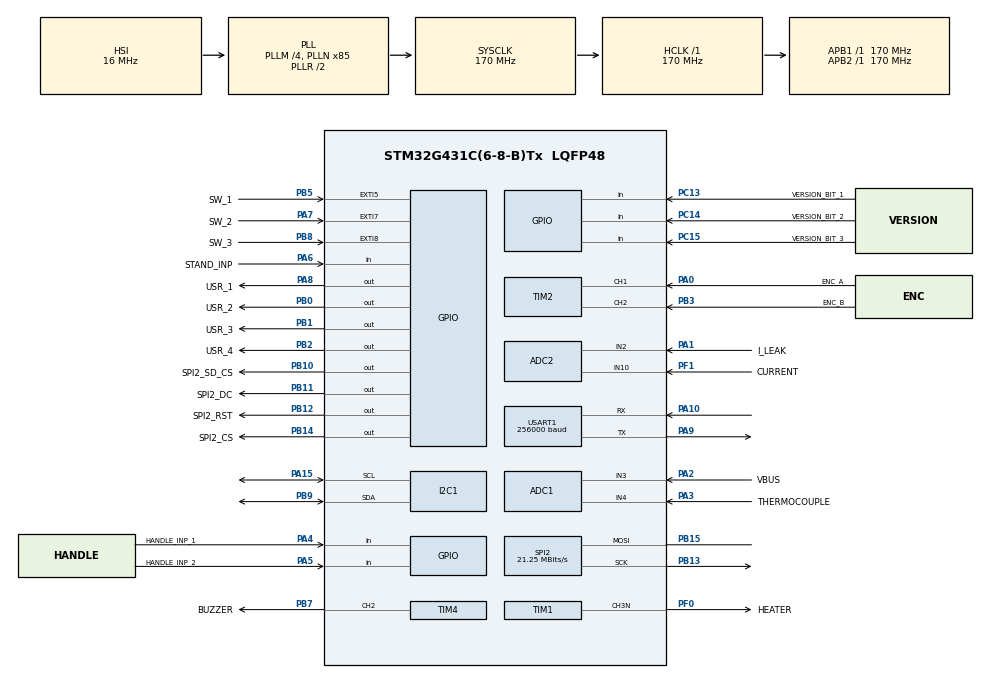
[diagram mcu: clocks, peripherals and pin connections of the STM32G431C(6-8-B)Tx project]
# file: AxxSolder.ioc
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ADC1.Channel-11\#ChannelRegularConversion=ADC_CHANNEL_3
ADC1.Channel-21\#ChannelRegularConversion=ADC_CHANNEL_4
ADC1.Channel-22\#ChannelRegularConversion=ADC_CHANNEL_TEMPSENSOR_ADC1
ADC1.ClockPrescaler=ADC_CLOCK_ASYNC_DIV4
ADC1.ContinuousConvMode=ENABLE
ADC1.DMAContinuousRequests=ENABLE
ADC1.DiscontinuousConvMode=DISABLE
ADC1.EnableAnalogWatchDog1=false
ADC1.EnableInjectedConversion=DISABLE
ADC1.EnableRegularConversion=ENABLE
ADC1.ExternalTrigConv=ADC_SOFTWARE_START
ADC1.ExternalTrigConvEdge=ADC_EXTERNALTRIGCONVEDGE_NONE
ADC1.NbrOfConversion=3
ADC1.NbrOfConversionFlag=1
ADC1.OffsetNumber-11\#ChannelRegularConversion=ADC_OFFSET_NONE
ADC1.OffsetNumber-21\#ChannelRegularConversion=ADC_OFFSET_NONE
ADC1.OffsetNumber-22\#ChannelRegularConversion=ADC_OFFSET_NONE
ADC1.Overrun=ADC_OVR_DATA_PRESERVED
ADC1.Rank-11\#ChannelRegularConversion=1
ADC1.Rank-21\#ChannelRegularConversion=2
ADC1.Rank-22\#ChannelRegularConversion=3
ADC1.SamplingTime-11\#ChannelRegularConversion=ADC_SAMPLETIME_247CYCLES_5
ADC1.SamplingTime-21\#ChannelRegularConversion=ADC_SAMPLETIME_247CYCLES_5
ADC1.SamplingTime-22\#ChannelRegularConversion=ADC_SAMPLETIME_247CYCLES_5
ADC1.master=1
ADC2.AWD1HighThreshold=2000
ADC2.AWD1ITMode=ENABLE
ADC2.Channel-4\#ChannelRegularConversion=ADC_CHANNEL_2
ADC2.Channel-5\#ChannelRegularConversion=ADC_CHANNEL_10
ADC2.ClockPrescaler=ADC_CLOCK_ASYNC_DIV4
ADC2.ContinuousConvMode=DISABLE
ADC2.DMAContinuousRequests=ENABLE
ADC2.EnableAnalogWatchDog1=true
ADC2.NbrOfConversion=2
ADC2.NbrOfConversionFlag=1
ADC2.OffsetNumber-4\#ChannelRegularConversion=ADC_OFFSET_NONE
ADC2.OffsetNumber-5\#ChannelRegularConversion=ADC_OFFSET_NONE
ADC2.Rank-4\#ChannelRegularConversion=1
ADC2.Rank-5\#ChannelRegularConversion=2
ADC2.SamplingTime-4\#ChannelRegularConversion=ADC_SAMPLETIME_2CYCLES_5
ADC2.SamplingTime-5\#ChannelRegularConversion=ADC_SAMPLETIME_2CYCLES_5
ADC2.WatchdogChannel=ADC_CHANNEL_2
Dma.ADC1.1.Direction=DMA_PERIPH_TO_MEMORY
Dma.ADC1.1.EventEnable=DISABLE
Dma.ADC1.1.Instance=DMA1_Channel3
Dma.ADC1.1.MemDataAlignment=DMA_MDATAALIGN_HALFWORD
Dma.ADC1.1.MemInc=DMA_MINC_ENABLE
Dma.ADC1.1.Mode=DMA_CIRCULAR
Dma.ADC1.1.PeriphDataAlignment=DMA_PDATAALIGN_HALFWORD
Dma.ADC1.1.PeriphInc=DMA_PINC_DISABLE
Dma.ADC1.1.Polarity=HAL_DMAMUX_REQ_GEN_RISING
Dma.ADC1.1.Priority=DMA_PRIORITY_LOW
Dma.ADC1.1.RequestNumber=1
Dma.ADC1.1.SignalID=NONE
Dma.ADC1.1.SyncEnable=DISABLE
Dma.ADC1.1.SyncPolarity=HAL_DMAMUX_SYNC_NO_EVENT
Dma.ADC1.1.SyncRequestNumber=1
Dma.ADC1.1.SyncSignalID=NONE
Dma.ADC2.3.Direction=DMA_PERIPH_TO_MEMORY
Dma.ADC2.3.EventEnable=DISABLE
Dma.ADC2.3.Instance=DMA1_Channel4
Dma.ADC2.3.MemDataAlignment=DMA_MDATAALIGN_HALFWORD
Dma.ADC2.3.MemInc=DMA_MINC_ENABLE
Dma.ADC2.3.Mode=DMA_NORMAL
Dma.ADC2.3.PeriphDataAlignment=DMA_PDATAALIGN_HALFWORD
Dma.ADC2.3.PeriphInc=DMA_PINC_DISABLE
Dma.ADC2.3.Polarity=HAL_DMAMUX_REQ_GEN_RISING
Dma.ADC2.3.Priority=DMA_PRIORITY_LOW
Dma.ADC2.3.RequestNumber=1
Dma.ADC2.3.SignalID=NONE
Dma.ADC2.3.SyncEnable=DISABLE
Dma.ADC2.3.SyncPolarity=HAL_DMAMUX_SYNC_NO_EVENT
Dma.ADC2.3.SyncRequestNumber=1
Dma.ADC2.3.SyncSignalID=NONE
Dma.Request0=SPI2_TX
Dma.Request1=ADC1
Dma.Request2=USART1_TX
Dma.Request3=ADC2
Dma.SPI2_TX.0.Direction=DMA_MEMORY_TO_PERIPH
Dma.SPI2_TX.0.EventEnable=DISABLE
Dma.SPI2_TX.0.Instance=DMA1_Channel1
Dma.SPI2_TX.0.MemDataAlignment=DMA_MDATAALIGN_BYTE
Dma.SPI2_TX.0.MemInc=DMA_MINC_ENABLE
Dma.SPI2_TX.0.Mode=DMA_NORMAL
Dma.SPI2_TX.0.PeriphDataAlignment=DMA_PDATAALIGN_BYTE
Dma.SPI2_TX.0.PeriphInc=DMA_PINC_DISABLE
Dma.SPI2_TX.0.Polarity=HAL_DMAMUX_REQ_GEN_RISING
Dma.SPI2_TX.0.Priority=DMA_PRIORITY_LOW
Dma.SPI2_TX.0.RequestNumber=1
Dma.SPI2_TX.0.SignalID=NONE
Dma.SPI2_TX.0.SyncEnable=DISABLE
Dma.SPI2_TX.0.SyncPolarity=HAL_DMAMUX_SYNC_NO_EVENT
Dma.SPI2_TX.0.SyncRequestNumber=1
Dma.SPI2_TX.0.SyncSignalID=NONE
Dma.USART1_TX.2.Direction=DMA_MEMORY_TO_PERIPH
Dma.USART1_TX.2.EventEnable=DISABLE
Dma.USART1_TX.2.Instance=DMA1_Channel2
Dma.USART1_TX.2.MemDataAlignment=DMA_MDATAALIGN_BYTE
Dma.USART1_TX.2.MemInc=DMA_MINC_ENABLE
Dma.USART1_TX.2.Mode=DMA_NORMAL
Dma.USART1_TX.2.PeriphDataAlignment=DMA_PDATAALIGN_BYTE
Dma.USART1_TX.2.PeriphInc=DMA_PINC_DISABLE
Dma.USART1_TX.2.Polarity=HAL_DMAMUX_REQ_GEN_RISING
Dma.USART1_TX.2.Priority=DMA_PRIORITY_LOW
Dma.USART1_TX.2.RequestNumber=1
Dma.USART1_TX.2.SignalID=NONE
Dma.USART1_TX.2.SyncEnable=DISABLE
Dma.USART1_TX.2.SyncPolarity=HAL_DMAMUX_SYNC_NO_EVENT
Dma.USART1_TX.2.SyncRequestNumber=1
Dma.USART1_TX.2.SyncSignalID=NONE
I2C1.Timing=0x40B285C2
Mcu.Family=STM32G4
Mcu.Name=STM32G431C(6-8-B)Tx
Mcu.Package=LQFP48
NVIC.ADC1_2_IRQn=true\:10\:0\:true\:false\:true\:true\:true\:true
NVIC.DMA1_Channel1_IRQn=true\:0\:0\:true\:false\:true\:false\:true\:true
NVIC.DMA1_Channel2_IRQn=true\:0\:0\:false\:false\:true\:false\:true\:true
NVIC.DMA1_Channel3_IRQn=true\:0\:0\:false\:false\:true\:false\:true\:true
NVIC.DMA1_Channel4_IRQn=true\:0\:0\:false\:false\:true\:false\:true\:true
NVIC.EXTI9_5_IRQn=true\:0\:0\:false\:false\:true\:true\:true\:true
NVIC.PriorityGroup=NVIC_PRIORITYGROUP_4
NVIC.TIM1_BRK_TIM15_IRQn=true\:0\:0\:false\:false\:true\:true\:true\:true
NVIC.TIM1_CC_IRQn=true\:0\:0\:false\:false\:true\:true\:true\:true
NVIC.TIM1_TRG_COM_TIM17_IRQn=true\:0\:0\:false\:false\:true\:true\:true\:true
NVIC.TIM1_UP_TIM16_IRQn=true\:0\:0\:false\:false\:true\:true\:true\:true
NVIC.TIM6_DAC_IRQn=true\:0\:0\:false\:false\:true\:true\:true\:true
NVIC.TIM7_IRQn=true\:0\:0\:false\:false\:true\:true\:true\:true
NVIC.USART1_IRQn=true\:0\:0\:false\:false\:true\:true\:true\:true
PA0.GPIO_Label=ENC_A
PA0.Signal=S_TIM2_CH1
PA1.GPIO_Label=I_LEAK
PA1.Mode=IN2-Single-Ended
PA1.Signal=ADC2_IN2
PA10.Mode=Asynchronous
PA10.Signal=USART1_RX
PA13.Mode=Serial_Wire
PA13.Signal=SYS_JTMS-SWDIO
PA14.Mode=Serial_Wire
PA14.Signal=SYS_JTCK-SWCLK
PA15.Mode=I2C
PA15.Signal=I2C1_SCL
PA2.GPIO_Label=VBUS
PA2.Mode=IN3-Single-Ended
PA2.Signal=ADC1_IN3
PA3.GPIO_Label=THERMOCOUPLE
PA3.Mode=IN4-Single-Ended
PA3.Signal=ADC1_IN4
PA4.GPIO_Label=HANDLE_INP_1
PA4.Signal=GPIO_Input
PA5.GPIO_Label=HANDLE_INP_2
PA5.Signal=GPIO_Input
PA6.GPIO_Label=STAND_INP
PA6.Signal=GPIO_Input
PA7.GPIO_Label=SW_2
PA7.Signal=GPXTI7
PA8.GPIO_Label=USR_1
PA8.Signal=GPIO_Output
PA9.Mode=Asynchronous
PA9.Signal=USART1_TX
PB0.GPIO_Label=USR_2
PB0.Signal=GPIO_Output
PB1.GPIO_Label=USR_3
PB1.Signal=GPIO_Output
PB10.GPIO_Label=SPI2_SD_CS
PB10.Signal=GPIO_Output
PB11.GPIO_Label=SPI2_DC
PB11.Signal=GPIO_Output
PB12.GPIO_Label=SPI2_RST
PB12.Signal=GPIO_Output
PB13.Mode=Simplex_Bidirectional_Master
PB13.Signal=SPI2_SCK
PB14.GPIO_Label=SPI2_CS
PB14.Signal=GPIO_Output
PB15.Mode=Simplex_Bidirectional_Master
PB15.Signal=SPI2_MOSI
PB2.GPIO_Label=USR_4
PB2.Signal=GPIO_Output
PB3.GPIO_Label=ENC_B
PB3.Signal=S_TIM2_CH2
PB5.GPIO_Label=SW_1
PB5.Signal=GPXTI5
PB7.GPIO_Label=BUZZER
PB7.Signal=S_TIM4_CH2
PB8-BOOT0.GPIO_Label=SW_3
PB8-BOOT0.Signal=GPXTI8
PB9.Mode=I2C
PB9.Signal=I2C1_SDA
PC13.GPIO_Label=VERSION_BIT_1
PC13.Signal=GPIO_Input
PC14-OSC32_IN.GPIO_Label=VERSION_BIT_2
PC14-OSC32_IN.Signal=GPIO_Input
PC15-OSC32_OUT.GPIO_Label=VERSION_BIT_3
PC15-OSC32_OUT.Signal=GPIO_Input
PF0-OSC_IN.GPIO_Label=HEATER
PF0-OSC_IN.Mode=PWM Generation3 CH3N
PF0-OSC_IN.Signal=TIM1_CH3N
PF1-OSC_OUT.GPIO_Label=CURRENT
PF1-OSC_OUT.Mode=IN10-Single-Ended
PF1-OSC_OUT.Signal=ADC2_IN10
ProjectManager.HeapSize=0x200
ProjectManager.StackSize=0x400
ProjectManager.TargetToolchain=STM32CubeIDE
RCC.ADC12Freq_Value=170000000
RCC.AHBFreq_Value=170000000
RCC.APB1Freq_Value=170000000
RCC.APB1TimFreq_Value=170000000
RCC.APB2Freq_Value=170000000
RCC.APB2TimFreq_Value=170000000
RCC.CK48CLockSelection=RCC_USBCLKSOURCE_HSI48
RCC.CortexFreq_Value=170000000
RCC.EXTERNAL_CLOCK_VALUE=12288000
RCC.HCLKFreq_Value=170000000
RCC.HSE_VALUE=8000000
RCC.HSI48_VALUE=48000000
RCC.HSI_VALUE=16000000
RCC.LSE_VALUE=32768
RCC.PLLM=RCC_PLLM_DIV4
RCC.PLLN=85
RCC.SYSCLKFreq_VALUE=170000000
RCC.SYSCLKSource=RCC_SYSCLKSOURCE_PLLCLK
RCC.USBFreq_Value=48000000
RCC.VCOOutputFreq_Value=340000000
SH.S_TIM2_CH1.0=TIM2_CH1,Encoder_Interface
SH.S_TIM2_CH2.0=TIM2_CH2,Encoder_Interface
SH.S_TIM4_CH2.0=TIM4_CH2,PWM Generation2 CH2
SPI2.BaudRatePrescaler=SPI_BAUDRATEPRESCALER_8
SPI2.CLKPolarity=SPI_POLARITY_LOW
SPI2.CalculateBaudRate=21.25 MBits/s
SPI2.DataSize=SPI_DATASIZE_8BIT
SPI2.Direction=SPI_DIRECTION_1LINE
SPI2.Mode=SPI_MODE_MASTER
SPI2.VirtualType=VM_MASTER
TIM1.AutoReloadPreload=TIM_AUTORELOAD_PRELOAD_ENABLE
TIM1.Channel-PWM\ Generation1\ No\ Output=TIM_CHANNEL_1
TIM1.Channel-PWM\ Generation3\ CH3N=TIM_CHANNEL_3
TIM1.PeriodNoDither=500
TIM1.Prescaler=17-1
TIM1.TIM_MasterOutputTrigger=TIM_TRGO_RESET
TIM16.AutoReloadPreload=TIM_AUTORELOAD_PRELOAD_ENABLE
TIM16.PeriodNoDither=500-1
TIM16.Prescaler=17000-1
TIM17.AutoReloadPreload=TIM_AUTORELOAD_PRELOAD_ENABLE
TIM17.PeriodNoDither=50-1
TIM17.Prescaler=17000
TIM2.EncoderMode=TIM_ENCODERMODE_TI12
TIM2.IC1Polarity=TIM_ICPOLARITY_FALLING
TIM4.AutoReloadPreload=TIM_AUTORELOAD_PRELOAD_ENABLE
TIM4.Channel-PWM\ Generation2\ CH2=TIM_CHANNEL_2
TIM4.PeriodNoDither=100
TIM4.Prescaler=1700-1
TIM4.PulseNoDither_2=0
TIM6.AutoReloadPreload=TIM_AUTORELOAD_PRELOAD_ENABLE
TIM6.PeriodNoDither=250
TIM6.Prescaler=17000-1
TIM7.AutoReloadPreload=TIM_AUTORELOAD_PRELOAD_ENABLE
TIM7.PeriodNoDither=10-1
TIM7.Prescaler=8500-1
TIM7.TIM_MasterOutputTrigger=TIM_TRGO_UPDATE
USART1.BaudRate=256000
USART1.VirtualMode-Asynchronous=VM_ASYNC
VP_ADC1_TempSens_Input.Mode=IN-TempSens
VP_CRC_VS_CRC.Mode=CRC_Activate
VP_SYS_VS_DBSignals.Mode=DisableDeadBatterySignals
VP_TIM16_VS_ClockSourceINT.Mode=Enable_Timer
VP_TIM17_VS_ClockSourceINT.Mode=Enable_Timer
VP_TIM17_VS_OPM.Mode=OPM_bit
VP_TIM1_VS_no_output1.Mode=PWM Generation1 No Output
VP_TIM6_VS_ClockSourceINT.Mode=Enable_Timer
VP_TIM7_VS_ClockSourceINT.Mode=Enable_Timer
VP_TIM7_VS_OPM.Mode=OPM_bit
VP_TIM8_VS_OPM.Mode=OPM_bit
board=custom

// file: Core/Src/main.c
/* USER CODE BEGIN Header */
/**
  ******************************************************************************
  * @file           : main.c
  * @author  		: Axel Johansson, Stockholm, Sweden
  * @brief          : Main program body of AxxSolder
  ******************************************************************************
  * @attention
  *
  * Copyright (c) 2024 STMicroelectronics.
  * All rights reserved.
  *
  * This software is licensed under terms that can be found in the LICENSE file
  * in the root directory of this software component.
  * If no LICENSE file comes with this software, it is provided AS-IS.
  *
  ******************************************************************************
  */
/* USER CODE END Header */
#include "main.h"

/* USER CODE BEGIN Includes */
#include "lcd.h"
#include "gui.h"
#include "string.h"
#include "pid.h"
#include "moving_average.h"
#include "hysteresis.h"
#include "type_packers.h"
#include "storage.h"
#include "tip_profile.h"
#include "menu_profiles.h"
#include "buzzer.h"
#include "debug.h"
#include "menu_settings.h"
#include "sensors.h"
#include "heater.h"
#include "handle.h"
#include "encoder.h"
#include "buttons.h"
#include "stand.h"
#include "settings.h"
#include "telemetry.h"
#include "power_source.h"
#include "display_app.h"
#include "controller.h"
#include <math.h>
#include <stdio.h>
#include <float.h>
#include "graph.h"
//#include "usbd_cdc_if.h"
/* USER CODE END Includes */

/* USER CODE BEGIN PTD */
/* PID_TUNING build switch lives in controller.h (its #ifdef consumer is in controller.c) */

uint32_t previous_measure_current_update = 0;
uint32_t interval_measure_current = 250;

uint32_t previous_sensor_update_high_update = 0;
uint32_t interval_sensor_update_high_update = 10;

uint32_t previous_sensor_update_low_update = 0;
uint32_t interval_sensor_update_low_update = 100;

/* Flag to indicate that startup sequence is done */
uint8_t startup_done = 0;

/* Struct to hold sensor values */
struct sensor_values_struct {
	float set_temperature;
	float thermocouple_temperature;
	float thermocouple_temperature_previous;
	float thermocouple_temperature_filtered;
	float requested_power;
	float requested_power_filtered;
	float bus_voltage;
	float heater_current;
	uint16_t leak_current;
	float mcu_temperature;
	float in_stand;
	float handle1_sense;
	float handle2_sense;
	mainstates current_state;
	mainstates previous_state;
	float max_power_watt;
	float USB_PD_power_limit;
};

/* Struct to hold sensor values */
volatile sensor_values_struct sensor_values = {
    .set_temperature = 0.0f,
    .thermocouple_temperature = 0.0f,
    .thermocouple_temperature_previous = 0.0f,
    .thermocouple_temperature_filtered = 0.0f,
    .requested_power = 0.0f,
    .requested_power_filtered = 0.0f,
    .bus_voltage = 0.0f,
    .heater_current = 0.0f,
    .leak_current = 0,
    .mcu_temperature = 0.0f,
    .in_stand = 0.0f,
    .handle1_sense = 0.0f,
    .handle2_sense = 0.0f,
    .current_state = SLEEP,
    .previous_state = SLEEP,
    .max_power_watt = 0.0f,
    .USB_PD_power_limit = FLT_MAX
};
/* USER CODE END PTD */

ADC_HandleTypeDef hadc1;
ADC_HandleTypeDef hadc2;
DMA_HandleTypeDef hdma_adc1;
DMA_HandleTypeDef hdma_adc2;

CRC_HandleTypeDef hcrc;

I2C_HandleTypeDef hi2c1;

SPI_HandleTypeDef hspi2;
DMA_HandleTypeDef hdma_spi2_tx;

TIM_HandleTypeDef htim1;
TIM_HandleTypeDef htim2;
TIM_HandleTypeDef htim4;
TIM_HandleTypeDef htim6;
TIM_HandleTypeDef htim7;
TIM_HandleTypeDef htim8;
TIM_HandleTypeDef htim16;
TIM_HandleTypeDef htim17;

UART_HandleTypeDef huart1;
DMA_HandleTypeDef hdma_usart1_tx;

void SystemClock_Config(void);
static void MX_GPIO_Init(void);
static void MX_DMA_Init(void);
static void MX_ADC1_Init(void);
static void MX_ADC2_Init(void);
static void MX_CRC_Init(void);
static void MX_TIM1_Init(void);
static void MX_TIM2_Init(void);
static void MX_TIM4_Init(void);
static void MX_SPI2_Init(void);
static void MX_I2C1_Init(void);
static void MX_USART1_UART_Init(void);
static void MX_TIM7_Init(void);
static void MX_TIM8_Init(void);
static void MX_TIM6_Init(void);
static void MX_TIM16_Init(void);
static void MX_TIM17_Init(void);

/* USER CODE BEGIN 0 */

void HAL_GPIO_EXTI_Callback(uint16_t GPIO_Pin) {
    buttons_isr_exti(GPIO_Pin);
}

void HAL_TIM_IC_CaptureCallback(TIM_HandleTypeDef *htim) {
    if ((htim->Channel == HAL_TIM_ACTIVE_CHANNEL_1) || (htim->Channel == HAL_TIM_ACTIVE_CHANNEL_2)) {
        encoder_isr_capture();
    }
}

/* Timer Callbacks */
void HAL_TIM_PWM_PulseFinishedCallback(TIM_HandleTypeDef *htim){
    if (htim->Instance == TIM1 && htim->Channel == HAL_TIM_ACTIVE_CHANNEL_1) {
        heater_isr_pwm_ch1_pulse_finished();
    }
}

void HAL_TIM_PeriodElapsedCallback(TIM_HandleTypeDef *htim) {
    /* Dispatch by timer instance. */
    if      (htim == &htim6)  sensors_isr_thermocouple_window_start();
    else if (htim == &htim7)  sensors_start_adc_sample();
    else if (htim == &htim17) buzzer_isr_beep_done();
    else if (htim == &htim16) buttons_isr_debounce_tick();
}
/* ADC conversion completed Callbacks */
void HAL_ADC_ConvCpltCallback(ADC_HandleTypeDef *hadc) {
    if      (hadc->Instance == ADC1) sensors_isr_thermocouple_complete();
    else if (hadc->Instance == ADC2) heater_isr_current_complete();
}

/* ADC analog watchdog: ground-fault detection on the iron tip */
void HAL_ADC_LevelOutOfWindowCallback(ADC_HandleTypeDef *hadc __unused) {
    LCD_draw_earth_fault_popup();
}

// For DEBUG
//HAL_GPIO_WritePin(USR_1_GPIO_Port, USR_1_Pin, GPIO_PIN_SET);
//HAL_GPIO_WritePin(GPIOB, USR_2_Pin, GPIO_PIN_RESET);
//HAL_GPIO_WritePin(GPIOB, USR_3_Pin, GPIO_PIN_RESET);
//HAL_GPIO_WritePin(GPIOB, USR_4_Pin, GPIO_PIN_RESET);

/* USER CODE END 0 */

int main(void)
{

  /* MCU Configuration--------------------------------------------------------*/

  /* Reset of all peripherals, Initializes the Flash interface and the Systick. */
  HAL_Init();

  /* Configure the system clock */
  SystemClock_Config();

  /* Initialize all configured peripherals */
  MX_GPIO_Init();
  MX_DMA_Init();
  MX_ADC1_Init();
  MX_ADC2_Init();
  MX_CRC_Init();
  MX_TIM1_Init();
  MX_TIM2_Init();
  MX_TIM4_Init();
  MX_SPI2_Init();
  MX_I2C1_Init();
  MX_USART1_UART_Init();
  MX_TIM7_Init();
  MX_TIM8_Init();
  MX_TIM6_Init();
  MX_TIM16_Init();
  MX_TIM17_Init();
  /* USER CODE BEGIN 2 */

	heater_set_duty(0);		//Set heater duty to zero to ensure zero startup current
	HAL_TIMEx_PWMN_Start_IT(&htim1, TIM_CHANNEL_3);

	HAL_TIM_Encoder_Start_IT(&htim2, TIM_CHANNEL_ALL);
	HAL_TIM_PWM_Start_IT(&htim1, TIM_CHANNEL_1);
	__HAL_TIM_SET_COMPARE(&htim4, TIM_CHANNEL_2, 50); //Set BUZZER duty to 50%
	HAL_TIM_Base_Start_IT(&htim6);

	__HAL_TIM_ENABLE_IT(&htim7, TIM_IT_UPDATE);

	HAL_ADCEx_Calibration_Start(&hadc2, ADC_SINGLE_ENDED);

	HAL_ADCEx_Calibration_Start(&hadc1, ADC_SINGLE_ENDED);
	HAL_ADC_Start_DMA(&hadc1, sensors_adc1_buf(), sensors_adc1_buf_len());	//Start ADC DMA mode

  /* USER CODE END 2 */

  /* Infinite loop */
  /* USER CODE BEGIN WHILE */
	HAL_Delay(200);

	/* Check if user data in flash is valid, if not - write default parameters */
	settings_init();

	/* Load tip profiles from storage */
	tip_profiles_init(STORAGE_PROFILES_DRIVER);

	/* Initiate display */
	LCD_init();

	LCD_SetRotation(flash_values.screen_rotation);

	/* Apply encoder direction setting */
	if(flash_values.change_enc_dir == 1){
		MX_TIM2_Init();
	}

	/* Set startup state */

	/* Set initial encoder timer value (used directly as temperature in
	   3-button mode) and seed the set temperature (normal rotary mode reads
	   the encoder as a relative delta, so it needs an explicit start value). */
	TIM2->CNT = flash_values.startup_temperature;
	sensor_values.set_temperature = flash_values.startup_temperature;

	/* initialize moving average functions */
	Moving_Average_Init(&thermocouple_temperature_filter_struct,(uint32_t)2);
	Moving_Average_Init(&thermocouple_temperature_filtered_filter_struct,(uint32_t)flash_values.displayed_temp_filter*10);
	Moving_Average_Init(&requested_power_filtered_filter_struct,(uint32_t)20);
	Moving_Average_Init(&mcu_temperature_filter_struct,(uint32_t)100);
	Moving_Average_Init(&input_voltage_filterStruct,(uint32_t)25);
	Moving_Average_Init(&current_filterStruct,(uint32_t)2);
	Moving_Average_Init(&stand_sense_filterStruct,(uint32_t)20);
	Moving_Average_Init(&handle1_sense_filterStruct,(uint32_t)20);
	Moving_Average_Init(&handle2_sense_filterStruct,(uint32_t)20);

	/* initialize hysteresis functions */
	Hysteresis_Init(&thermocouple_temperature_filtered_hysteresis, 0.5f);

	/* Init and fill filter structures with initial values */
	for (int i = 0; i<200;i++){
		sensors_get_bus_voltage(); // Function to retrieve the filtered bus voltage
		sensors_get_heater_current(); // Function to retrieve the filtered heater current
		sensors_get_mcu_temp(); // Function to retrieve the MCU temperature
		sensors_get_thermocouple_temperature(); // Get thermocouple temperature
		handle_detect(); // Get the handle type attached
		handle_apply_settings(); // Function to set heating values depending on the detected handle
		stand_update(); // Get handle stand status to activate SLEEP
		buttons_handle(); // Function to get button status
		handle_check_cartridge(); // Function to monitor cartridge presence
	}

	/* Initiate PID controller */
	controller_init();

	/* check STUSB4500 */
	power_source_init();

	/* Draw the main screen decoration */
	if (flash_values.display_graph == 0){
		LCD_draw_main_screen();
	}
	else{
		//UG_FillScreen(background);
		draw_graph_init();
	}
	HAL_Delay(250);

	/* Set beep tone */
	switch((int)flash_values.beep_tone){
		case 0: {
			set_tone(1500, 10);
			break;
		}
		case 1: {
			set_tone(1500, 50);
			break;
		}
		case 2: {
			set_tone(800, 10);
			break;
		}
		case 3: {
			set_tone(800, 50);
			break;
		}
	}

    /* Start-up beep */
	beep_double(flash_values.startup_beep);

	//Flag to indicate that the startup sequence is done
	startup_done = 1;
	sensor_values.thermocouple_temperature_previous = sensor_values.thermocouple_temperature;

	/* "Heat at startup": preheat to the standby temperature on power-on.
	   Deferred until a tip is detected (see the one-shot in the main loop) -
	   doing it here would be immediately overridden by handle_check_cartridge,
	   which forces EMERGENCY_SLEEP until the first current measurement proves a
	   tip is present (heater_current starts at 0). */
	uint8_t heat_at_startup_pending = (flash_values.heat_at_startup == 1);

	/* Initiate the PID controller to zero*/
	//PID_Init_Zero();

	while (1){

		if(HAL_GetTick() - previous_sensor_update_high_update >= interval_sensor_update_high_update){
			stand_update();
			handle_detect();
			handle_apply_settings();
			encoder_read_set_temperature();
			buttons_handle();
			handle_emergency_shutdown();
			handle_check_cartridge();
			/* One-shot preheat: once a tip is confirmed present, enter STANDBY
			   if "heat at startup" is enabled. Deferred to here so the cartridge
			   check above (which forces EMERGENCY_SLEEP while heater_current < 1)
			   doesn't immediately clobber it. */
			if(heat_at_startup_pending && (cartridge_state == ATTACHED)){
				change_state(STANDBY);
				previous_millis_standby = HAL_GetTick();
				heat_at_startup_pending = 0;
			}
			previous_sensor_update_high_update = HAL_GetTick();
		}

		if(HAL_GetTick() - previous_sensor_update_low_update >= interval_sensor_update_low_update){
			sensors_get_bus_voltage();
			sensors_get_heater_current();
			sensors_get_mcu_temp();
			beep_at_set_temp();
			previous_sensor_update_low_update = HAL_GetTick();
		}

		/* Compute PID + switch + PID Tuning manual control */
		controller_tick();

		/* Send debug information */
		telemetry_tick();

		/* Detect if a tip is present by sending a short voltage pulse and sense current */
		if (flash_values.current_measurement == 1){

			if (HAL_GetTick() - previous_measure_current_update >= interval_measure_current) {
				// Perform current measurement only if thermocouple measurement is not in progress.
				if (sensors_thermocouple_sampling_idle()) {
					heater_start_current_measurement();
					previous_measure_current_update = HAL_GetTick();
				}
			}
		}
		else{
			sensor_values.heater_current = 1; // If the current is not measured, apply a dummy value to heater_current
		}

		/* Update display (popup dwell + periodic render inside display_app_tick) */
		display_app_tick();
    /* USER CODE END WHILE */

  }
}

void SystemClock_Config(void)
{
  RCC_OscInitTypeDef RCC_OscInitStruct = {0};
  RCC_ClkInitTypeDef RCC_ClkInitStruct = {0};

  /** Configure the main internal regulator output voltage
  */
  HAL_PWREx_ControlVoltageScaling(PWR_REGULATOR_VOLTAGE_SCALE1_BOOST);

  /** Initializes the RCC Oscillators according to the specified parameters
  * in the RCC_OscInitTypeDef structure.
  */
  RCC_OscInitStruct.OscillatorType = RCC_OSCILLATORTYPE_HSI;
  RCC_OscInitStruct.HSIState = RCC_HSI_ON;
  RCC_OscInitStruct.HSICalibrationValue = RCC_HSICALIBRATION_DEFAULT;
  RCC_OscInitStruct.PLL.PLLState = RCC_PLL_ON;
  RCC_OscInitStruct.PLL.PLLSource = RCC_PLLSOURCE_HSI;
  RCC_OscInitStruct.PLL.PLLM = RCC_PLLM_DIV4;
  RCC_OscInitStruct.PLL.PLLN = 85;
  RCC_OscInitStruct.PLL.PLLP = RCC_PLLP_DIV2;
  RCC_OscInitStruct.PLL.PLLQ = RCC_PLLQ_DIV2;
  RCC_OscInitStruct.PLL.PLLR = RCC_PLLR_DIV2;
  if (HAL_RCC_OscConfig(&RCC_OscInitStruct) != HAL_OK)
  {
    Error_Handler();
  }

  /** Initializes the CPU, AHB and APB buses clocks
  */
  RCC_ClkInitStruct.ClockType = RCC_CLOCKTYPE_HCLK|RCC_CLOCKTYPE_SYSCLK
                              |RCC_CLOCKTYPE_PCLK1|RCC_CLOCKTYPE_PCLK2;
  RCC_ClkInitStruct.SYSCLKSource = RCC_SYSCLKSOURCE_PLLCLK;
  RCC_ClkInitStruct.AHBCLKDivider = RCC_SYSCLK_DIV1;
  RCC_ClkInitStruct.APB1CLKDivider = RCC_HCLK_DIV1;
  RCC_ClkInitStruct.APB2CLKDivider = RCC_HCLK_DIV1;

  if (HAL_RCC_ClockConfig(&RCC_ClkInitStruct, FLASH_LATENCY_4) != HAL_OK)
  {
    Error_Handler();
  }
}

static void MX_ADC1_Init(void)
{

  ADC_MultiModeTypeDef multimode = {0};
  ADC_ChannelConfTypeDef sConfig = {0};

  /** Common config
  */
  hadc1.Instance = ADC1;
  hadc1.Init.ClockPrescaler = ADC_CLOCK_ASYNC_DIV4;
  hadc1.Init.Resolution = ADC_RESOLUTION_12B;
  hadc1.Init.DataAlign = ADC_DATAALIGN_RIGHT;
  hadc1.Init.GainCompensation = 0;
  hadc1.Init.ScanConvMode = ADC_SCAN_ENABLE;
  hadc1.Init.EOCSelection = ADC_EOC_SINGLE_CONV;
  hadc1.Init.LowPowerAutoWait = DISABLE;
  hadc1.Init.ContinuousConvMode = ENABLE;
  hadc1.Init.NbrOfConversion = 3;
  hadc1.Init.DiscontinuousConvMode = DISABLE;
  hadc1.Init.ExternalTrigConv = ADC_SOFTWARE_START;
  hadc1.Init.ExternalTrigConvEdge = ADC_EXTERNALTRIGCONVEDGE_NONE;
  hadc1.Init.DMAContinuousRequests = ENABLE;
  hadc1.Init.Overrun = ADC_OVR_DATA_PRESERVED;
  hadc1.Init.OversamplingMode = DISABLE;
  if (HAL_ADC_Init(&hadc1) != HAL_OK)
  {
    Error_Handler();
  }

  /** Configure the ADC multi-mode
  */
  multimode.Mode = ADC_MODE_INDEPENDENT;
  if (HAL_ADCEx_MultiModeConfigChannel(&hadc1, &multimode) != HAL_OK)
  {
    Error_Handler();
  }

  /** Configure Regular Channel
  */
  sConfig.Channel = ADC_CHANNEL_3;
  sConfig.Rank = ADC_REGULAR_RANK_1;
  sConfig.SamplingTime = ADC_SAMPLETIME_247CYCLES_5;
  sConfig.SingleDiff = ADC_SINGLE_ENDED;
  sConfig.OffsetNumber = ADC_OFFSET_NONE;
  sConfig.Offset = 0;
  if (HAL_ADC_ConfigChannel(&hadc1, &sConfig) != HAL_OK)
  {
    Error_Handler();
  }

  /** Configure Regular Channel
  */
  sConfig.Channel = ADC_CHANNEL_4;
  sConfig.Rank = ADC_REGULAR_RANK_2;
  if (HAL_ADC_ConfigChannel(&hadc1, &sConfig) != HAL_OK)
  {
    Error_Handler();
  }

  /** Configure Regular Channel
  */
  sConfig.Channel = ADC_CHANNEL_TEMPSENSOR_ADC1;
  sConfig.Rank = ADC_REGULAR_RANK_3;
  if (HAL_ADC_ConfigChannel(&hadc1, &sConfig) != HAL_OK)
  {
    Error_Handler();
  }

}

static void MX_ADC2_Init(void)
{

  ADC_AnalogWDGConfTypeDef AnalogWDGConfig = {0};
  ADC_ChannelConfTypeDef sConfig = {0};

  /** Common config
  */
  hadc2.Instance = ADC2;
  hadc2.Init.ClockPrescaler = ADC_CLOCK_ASYNC_DIV4;
  hadc2.Init.Resolution = ADC_RESOLUTION_12B;
  hadc2.Init.DataAlign = ADC_DATAALIGN_RIGHT;
  hadc2.Init.GainCompensation = 0;
  hadc2.Init.ScanConvMode = ADC_SCAN_ENABLE;
  hadc2.Init.EOCSelection = ADC_EOC_SINGLE_CONV;
  hadc2.Init.LowPowerAutoWait = DISABLE;
  hadc2.Init.ContinuousConvMode = DISABLE;
  hadc2.Init.NbrOfConversion = 2;
  hadc2.Init.DiscontinuousConvMode = DISABLE;
  hadc2.Init.ExternalTrigConv = ADC_SOFTWARE_START;
  hadc2.Init.ExternalTrigConvEdge = ADC_EXTERNALTRIGCONVEDGE_NONE;
  hadc2.Init.DMAContinuousRequests = ENABLE;
  hadc2.Init.Overrun = ADC_OVR_DATA_PRESERVED;
  hadc2.Init.OversamplingMode = DISABLE;
  if (HAL_ADC_Init(&hadc2) != HAL_OK)
  {
    Error_Handler();
  }

  /** Configure Analog WatchDog 1
  */
  AnalogWDGConfig.WatchdogNumber = ADC_ANALOGWATCHDOG_1;
  AnalogWDGConfig.WatchdogMode = ADC_ANALOGWATCHDOG_SINGLE_REG;
  AnalogWDGConfig.Channel = ADC_CHANNEL_2;
  AnalogWDGConfig.ITMode = ENABLE;
  AnalogWDGConfig.HighThreshold = 2000;
  AnalogWDGConfig.LowThreshold = 0;
  AnalogWDGConfig.FilteringConfig = ADC_AWD_FILTERING_NONE;
  if (HAL_ADC_AnalogWDGConfig(&hadc2, &AnalogWDGConfig) != HAL_OK)
  {
    Error_Handler();
  }

  /** Configure Regular Channel
  */
  sConfig.Channel = ADC_CHANNEL_2;
  sConfig.Rank = ADC_REGULAR_RANK_1;
  sConfig.SamplingTime = ADC_SAMPLETIME_2CYCLES_5;
  sConfig.SingleDiff = ADC_SINGLE_ENDED;
  sConfig.OffsetNumber = ADC_OFFSET_NONE;
  sConfig.Offset = 0;
  if (HAL_ADC_ConfigChannel(&hadc2, &sConfig) != HAL_OK)
  {
    Error_Handler();
  }

  /** Configure Regular Channel
  */
  sConfig.Channel = ADC_CHANNEL_10;
  sConfig.Rank = ADC_REGULAR_RANK_2;
  if (HAL_ADC_ConfigChannel(&hadc2, &sConfig) != HAL_OK)
  {
    Error_Handler();
  }

}

static void MX_CRC_Init(void)
{

  hcrc.Instance = CRC;
  hcrc.Init.DefaultPolynomialUse = DEFAULT_POLYNOMIAL_ENABLE;
  hcrc.Init.DefaultInitValueUse = DEFAULT_INIT_VALUE_ENABLE;
  hcrc.Init.InputDataInversionMode = CRC_INPUTDATA_INVERSION_NONE;
  hcrc.Init.OutputDataInversionMode = CRC_OUTPUTDATA_INVERSION_DISABLE;
  hcrc.InputDataFormat = CRC_INPUTDATA_FORMAT_BYTES;
  if (HAL_CRC_Init(&hcrc) != HAL_OK)
  {
    Error_Handler();
  }

}

static void MX_I2C1_Init(void)
{

  hi2c1.Instance = I2C1;
  hi2c1.Init.Timing = 0x40B285C2;
  hi2c1.Init.OwnAddress1 = 0;
  hi2c1.Init.AddressingMode = I2C_ADDRESSINGMODE_7BIT;
  hi2c1.Init.DualAddressMode = I2C_DUALADDRESS_DISABLE;
  hi2c1.Init.OwnAddress2 = 0;
  hi2c1.Init.OwnAddress2Masks = I2C_OA2_NOMASK;
  hi2c1.Init.GeneralCallMode = I2C_GENERALCALL_DISABLE;
  hi2c1.Init.NoStretchMode = I2C_NOSTRETCH_DISABLE;
  if (HAL_I2C_Init(&hi2c1) != HAL_OK)
  {
    Error_Handler();
  }

  /** Configure Analogue filter
  */
  if (HAL_I2CEx_ConfigAnalogFilter(&hi2c1, I2C_ANALOGFILTER_ENABLE) != HAL_OK)
  {
    Error_Handler();
  }

  /** Configure Digital filter
  */
  if (HAL_I2CEx_ConfigDigitalFilter(&hi2c1, 0) != HAL_OK)
  {
    Error_Handler();
  }

}

static void MX_SPI2_Init(void)
{

  /* SPI2 parameter configuration*/
  hspi2.Instance = SPI2;
  hspi2.Init.Mode = SPI_MODE_MASTER;
  hspi2.Init.Direction = SPI_DIRECTION_1LINE;
  hspi2.Init.DataSize = SPI_DATASIZE_8BIT;
  hspi2.Init.CLKPolarity = SPI_POLARITY_LOW;
  hspi2.Init.CLKPhase = SPI_PHASE_1EDGE;
  hspi2.Init.NSS = SPI_NSS_SOFT;
  hspi2.Init.BaudRatePrescaler = SPI_BAUDRATEPRESCALER_8;
  hspi2.Init.FirstBit = SPI_FIRSTBIT_MSB;
  hspi2.Init.TIMode = SPI_TIMODE_DISABLE;
  hspi2.Init.CRCCalculation = SPI_CRCCALCULATION_DISABLE;
  hspi2.Init.CRCPolynomial = 7;
  hspi2.Init.CRCLength = SPI_CRC_LENGTH_DATASIZE;
  hspi2.Init.NSSPMode = SPI_NSS_PULSE_ENABLE;
  if (HAL_SPI_Init(&hspi2) != HAL_OK)
  {
    Error_Handler();
  }

}

static void MX_TIM1_Init(void)
{

  TIM_MasterConfigTypeDef sMasterConfig = {0};
  TIM_OC_InitTypeDef sConfigOC = {0};
  TIM_BreakDeadTimeConfigTypeDef sBreakDeadTimeConfig = {0};

  htim1.Instance = TIM1;
  htim1.Init.Prescaler = 17-1;
  htim1.Init.CounterMode = TIM_COUNTERMODE_UP;
  htim1.Init.Period = 500;
  htim1.Init.ClockDivision = TIM_CLOCKDIVISION_DIV1;
  htim1.Init.RepetitionCounter = 0;
  htim1.Init.AutoReloadPreload = TIM_AUTORELOAD_PRELOAD_ENABLE;
  if (HAL_TIM_PWM_Init(&htim1) != HAL_OK)
  {
    Error_Handler();
  }
  sMasterConfig.MasterOutputTrigger = TIM_TRGO_RESET;
  sMasterConfig.MasterOutputTrigger2 = TIM_TRGO2_RESET;
  sMasterConfig.MasterSlaveMode = TIM_MASTERSLAVEMODE_DISABLE;
  if (HAL_TIMEx_MasterConfigSynchronization(&htim1, &sMasterConfig) != HAL_OK)
  {
    Error_Handler();
  }
  sConfigOC.OCMode = TIM_OCMODE_PWM1;
  sConfigOC.Pulse = 0;
  sConfigOC.OCPolarity = TIM_OCPOLARITY_HIGH;
  sConfigOC.OCNPolarity = TIM_OCNPOLARITY_HIGH;
  sConfigOC.OCFastMode = TIM_OCFAST_DISABLE;
  sConfigOC.OCIdleState = TIM_OCIDLESTATE_RESET;
  sConfigOC.OCNIdleState = TIM_OCNIDLESTATE_RESET;
  if (HAL_TIM_PWM_ConfigChannel(&htim1, &sConfigOC, TIM_CHANNEL_1) != HAL_OK)
  {
    Error_Handler();
  }
  if (HAL_TIM_PWM_ConfigChannel(&htim1, &sConfigOC, TIM_CHANNEL_3) != HAL_OK)
  {
    Error_Handler();
  }
  sBreakDeadTimeConfig.OffStateRunMode = TIM_OSSR_DISABLE;
  sBreakDeadTimeConfig.OffStateIDLEMode = TIM_OSSI_DISABLE;
  sBreakDeadTimeConfig.LockLevel = TIM_LOCKLEVEL_OFF;
  sBreakDeadTimeConfig.DeadTime = 0;
  sBreakDeadTimeConfig.BreakState = TIM_BREAK_DISABLE;
  sBreakDeadTimeConfig.BreakPolarity = TIM_BREAKPOLARITY_HIGH;
  sBreakDeadTimeConfig.BreakFilter = 0;
  sBreakDeadTimeConfig.BreakAFMode = TIM_BREAK_AFMODE_INPUT;
  sBreakDeadTimeConfig.Break2State = TIM_BREAK2_DISABLE;
  sBreakDeadTimeConfig.Break2Polarity = TIM_BREAK2POLARITY_HIGH;
  sBreakDeadTimeConfig.Break2Filter = 0;
  sBreakDeadTimeConfig.Break2AFMode = TIM_BREAK_AFMODE_INPUT;
  sBreakDeadTimeConfig.AutomaticOutput = TIM_AUTOMATICOUTPUT_DISABLE;
  if (HAL_TIMEx_ConfigBreakDeadTime(&htim1, &sBreakDeadTimeConfig) != HAL_OK)
  {
    Error_Handler();
  }
  HAL_TIM_MspPostInit(&htim1);

}

static void MX_TIM2_Init(void)
{

  TIM_Encoder_InitTypeDef sConfig = {0};
  TIM_MasterConfigTypeDef sMasterConfig = {0};

  htim2.Instance = TIM2;
  htim2.Init.Prescaler = 0;
  htim2.Init.CounterMode = TIM_COUNTERMODE_UP;
  htim2.Init.Period = 4294967295;
  htim2.Init.ClockDivision = TIM_CLOCKDIVISION_DIV1;
  htim2.Init.AutoReloadPreload = TIM_AUTORELOAD_PRELOAD_DISABLE;
  sConfig.EncoderMode = TIM_ENCODERMODE_TI12;
  sConfig.IC1Polarity = TIM_ICPOLARITY_FALLING;
  sConfig.IC1Selection = TIM_ICSELECTION_DIRECTTI;
  sConfig.IC1Prescaler = TIM_ICPSC_DIV1;
  sConfig.IC1Filter = 0;
  sConfig.IC2Polarity = TIM_ICPOLARITY_RISING;
  sConfig.IC2Selection = TIM_ICSELECTION_DIRECTTI;
  sConfig.IC2Prescaler = TIM_ICPSC_DIV1;
  sConfig.IC2Filter = 0;
  if (HAL_TIM_Encoder_Init(&htim2, &sConfig) != HAL_OK)
  {
    Error_Handler();
  }
  sMasterConfig.MasterOutputTrigger = TIM_TRGO_RESET;
  sMasterConfig.MasterSlaveMode = TIM_MASTERSLAVEMODE_DISABLE;
  if (HAL_TIMEx_MasterConfigSynchronization(&htim2, &sMasterConfig) != HAL_OK)
  {
    Error_Handler();
  }
  /* USER CODE BEGIN TIM2_Init 2 */
  if(flash_values.change_enc_dir == 1){
	  sConfig.IC1Polarity = TIM_ICPOLARITY_RISING;
	  HAL_TIM_Encoder_Init(&htim2, &sConfig);
  }
  /* USER CODE END TIM2_Init 2 */

}

static void MX_TIM4_Init(void)
{

  TIM_MasterConfigTypeDef sMasterConfig = {0};
  TIM_OC_InitTypeDef sConfigOC = {0};

  htim4.Instance = TIM4;
  htim4.Init.Prescaler = 1700-1;
  htim4.Init.CounterMode = TIM_COUNTERMODE_UP;
  htim4.Init.Period = 100;
  htim4.Init.ClockDivision = TIM_CLOCKDIVISION_DIV1;
  htim4.Init.AutoReloadPreload = TIM_AUTORELOAD_PRELOAD_ENABLE;
  if (HAL_TIM_PWM_Init(&htim4) != HAL_OK)
  {
    Error_Handler();
  }
  sMasterConfig.MasterOutputTrigger = TIM_TRGO_RESET;
  sMasterConfig.MasterSlaveMode = TIM_MASTERSLAVEMODE_DISABLE;
  if (HAL_TIMEx_MasterConfigSynchronization(&htim4, &sMasterConfig) != HAL_OK)
  {
    Error_Handler();
  }
  sConfigOC.OCMode = TIM_OCMODE_PWM1;
  sConfigOC.Pulse = 0;
  sConfigOC.OCPolarity = TIM_OCPOLARITY_HIGH;
  sConfigOC.OCFastMode = TIM_OCFAST_DISABLE;
  if (HAL_TIM_PWM_ConfigChannel(&htim4, &sConfigOC, TIM_CHANNEL_2) != HAL_OK)
  {
    Error_Handler();
  }
  HAL_TIM_MspPostInit(&htim4);

}

static void MX_TIM6_Init(void)
{

  TIM_MasterConfigTypeDef sMasterConfig = {0};

  htim6.Instance = TIM6;
  htim6.Init.Prescaler = 17000-1;
  htim6.Init.CounterMode = TIM_COUNTERMODE_UP;
  htim6.Init.Period = 250;
  htim6.Init.AutoReloadPreload = TIM_AUTORELOAD_PRELOAD_ENABLE;
  if (HAL_TIM_Base_Init(&htim6) != HAL_OK)
  {
    Error_Handler();
  }
  sMasterConfig.MasterOutputTrigger = TIM_TRGO_RESET;
  sMasterConfig.MasterSlaveMode = TIM_MASTERSLAVEMODE_DISABLE;
  if (HAL_TIMEx_MasterConfigSynchronization(&htim6, &sMasterConfig) != HAL_OK)
  {
    Error_Handler();
  }

}

static void MX_TIM7_Init(void)
{

  TIM_MasterConfigTypeDef sMasterConfig = {0};

  htim7.Instance = TIM7;
  htim7.Init.Prescaler = 8500-1;
  htim7.Init.CounterMode = TIM_COUNTERMODE_UP;
  htim7.Init.Period = 9;
  htim7.Init.AutoReloadPreload = TIM_AUTORELOAD_PRELOAD_ENABLE;
  if (HAL_TIM_Base_Init(&htim7) != HAL_OK)
  {
    Error_Handler();
  }
  if (HAL_TIM_OnePulse_Init(&htim7, TIM_OPMODE_SINGLE) != HAL_OK)
  {
    Error_Handler();
  }
  sMasterConfig.MasterOutputTrigger = TIM_TRGO_UPDATE;
  sMasterConfig.MasterSlaveMode = TIM_MASTERSLAVEMODE_DISABLE;
  if (HAL_TIMEx_MasterConfigSynchronization(&htim7, &sMasterConfig) != HAL_OK)
  {
    Error_Handler();
  }

}

static void MX_TIM8_Init(void)
{

  TIM_MasterConfigTypeDef sMasterConfig = {0};

  htim8.Instance = TIM8;
  htim8.Init.Prescaler = 0;
  htim8.Init.CounterMode = TIM_COUNTERMODE_UP;
  htim8.Init.Period = 65535;
  htim8.Init.ClockDivision = TIM_CLOCKDIVISION_DIV1;
  htim8.Init.RepetitionCounter = 0;
  htim8.Init.AutoReloadPreload = TIM_AUTORELOAD_PRELOAD_DISABLE;
  if (HAL_TIM_OnePulse_Init(&htim8, TIM_OPMODE_SINGLE) != HAL_OK)
  {
    Error_Handler();
  }
  sMasterConfig.MasterOutputTrigger = TIM_TRGO_RESET;
  sMasterConfig.MasterOutputTrigger2 = TIM_TRGO2_RESET;
  sMasterConfig.MasterSlaveMode = TIM_MASTERSLAVEMODE_DISABLE;
  if (HAL_TIMEx_MasterConfigSynchronization(&htim8, &sMasterConfig) != HAL_OK)
  {
    Error_Handler();
  }

}

static void MX_TIM16_Init(void)
{

  htim16.Instance = TIM16;
  htim16.Init.Prescaler = 17000-1;
  htim16.Init.CounterMode = TIM_COUNTERMODE_UP;
  htim16.Init.Period = 499;
  htim16.Init.ClockDivision = TIM_CLOCKDIVISION_DIV1;
  htim16.Init.RepetitionCounter = 0;
  htim16.Init.AutoReloadPreload = TIM_AUTORELOAD_PRELOAD_ENABLE;
  if (HAL_TIM_Base_Init(&htim16) != HAL_OK)
  {
    Error_Handler();
  }

}

static void MX_TIM17_Init(void)
{

  htim17.Instance = TIM17;
  htim17.Init.Prescaler = 17000;
  htim17.Init.CounterMode = TIM_COUNTERMODE_UP;
  htim17.Init.Period = 49;
  htim17.Init.ClockDivision = TIM_CLOCKDIVISION_DIV1;
  htim17.Init.RepetitionCounter = 0;
  htim17.Init.AutoReloadPreload = TIM_AUTORELOAD_PRELOAD_ENABLE;
  if (HAL_TIM_Base_Init(&htim17) != HAL_OK)
  {
    Error_Handler();
  }
  if (HAL_TIM_OnePulse_Init(&htim17, TIM_OPMODE_SINGLE) != HAL_OK)
  {
    Error_Handler();
  }

}

static void MX_USART1_UART_Init(void)
{

  huart1.Instance = USART1;
  huart1.Init.BaudRate = 256000;
  huart1.Init.WordLength = UART_WORDLENGTH_8B;
  huart1.Init.StopBits = UART_STOPBITS_1;
  huart1.Init.Parity = UART_PARITY_NONE;
  huart1.Init.Mode = UART_MODE_TX_RX;
  huart1.Init.HwFlowCtl = UART_HWCONTROL_NONE;
  huart1.Init.OverSampling = UART_OVERSAMPLING_16;
  huart1.Init.OneBitSampling = UART_ONE_BIT_SAMPLE_DISABLE;
  huart1.Init.ClockPrescaler = UART_PRESCALER_DIV1;
  huart1.AdvancedInit.AdvFeatureInit = UART_ADVFEATURE_NO_INIT;
  if (HAL_UART_Init(&huart1) != HAL_OK)
  {
    Error_Handler();
  }
  if (HAL_UARTEx_SetTxFifoThreshold(&huart1, UART_TXFIFO_THRESHOLD_1_8) != HAL_OK)
  {
    Error_Handler();
  }
  if (HAL_UARTEx_SetRxFifoThreshold(&huart1, UART_RXFIFO_THRESHOLD_1_8) != HAL_OK)
  {
    Error_Handler();
  }
  if (HAL_UARTEx_DisableFifoMode(&huart1) != HAL_OK)
  {
    Error_Handler();
  }

}

static void MX_DMA_Init(void)
{

  /* DMA controller clock enable */
  __HAL_RCC_DMAMUX1_CLK_ENABLE();
  __HAL_RCC_DMA1_CLK_ENABLE();

  /* DMA interrupt init */
  /* DMA1_Channel1_IRQn interrupt configuration */
  HAL_NVIC_SetPriority(DMA1_Channel1_IRQn, 0, 0);
  HAL_NVIC_EnableIRQ(DMA1_Channel1_IRQn);
  /* DMA1_Channel2_IRQn interrupt configuration */
  HAL_NVIC_SetPriority(DMA1_Channel2_IRQn, 0, 0);
  HAL_NVIC_EnableIRQ(DMA1_Channel2_IRQn);
  /* DMA1_Channel3_IRQn interrupt configuration */
  HAL_NVIC_SetPriority(DMA1_Channel3_IRQn, 0, 0);
  HAL_NVIC_EnableIRQ(DMA1_Channel3_IRQn);
  /* DMA1_Channel4_IRQn interrupt configuration */
  HAL_NVIC_SetPriority(DMA1_Channel4_IRQn, 0, 0);
  HAL_NVIC_EnableIRQ(DMA1_Channel4_IRQn);

}

static void MX_GPIO_Init(void)
{
  GPIO_InitTypeDef GPIO_InitStruct = {0};

  /* GPIO Ports Clock Enable */
  __HAL_RCC_GPIOC_CLK_ENABLE();
  __HAL_RCC_GPIOF_CLK_ENABLE();
  __HAL_RCC_GPIOA_CLK_ENABLE();
  __HAL_RCC_GPIOB_CLK_ENABLE();

  /*Configure GPIO pin Output Level */
  HAL_GPIO_WritePin(GPIOB, USR_2_Pin|USR_3_Pin|USR_4_Pin|SPI2_SD_CS_Pin
                          |SPI2_DC_Pin|SPI2_RST_Pin|SPI2_CS_Pin, GPIO_PIN_RESET);

  /*Configure GPIO pin Output Level */
  HAL_GPIO_WritePin(USR_1_GPIO_Port, USR_1_Pin, GPIO_PIN_RESET);

  /*Configure GPIO pins : VERSION_BIT_1_Pin VERSION_BIT_2_Pin VERSION_BIT_3_Pin */
  GPIO_InitStruct.Pin = VERSION_BIT_1_Pin|VERSION_BIT_2_Pin|VERSION_BIT_3_Pin;
  GPIO_InitStruct.Mode = GPIO_MODE_INPUT;
  GPIO_InitStruct.Pull = GPIO_NOPULL;
  HAL_GPIO_Init(GPIOC, &GPIO_InitStruct);

  /*Configure GPIO pins : HANDLE_INP_1_Pin HANDLE_INP_2_Pin STAND_INP_Pin */
  GPIO_InitStruct.Pin = HANDLE_INP_1_Pin|HANDLE_INP_2_Pin|STAND_INP_Pin;
  GPIO_InitStruct.Mode = GPIO_MODE_INPUT;
  GPIO_InitStruct.Pull = GPIO_NOPULL;
  HAL_GPIO_Init(GPIOA, &GPIO_InitStruct);

  /*Configure GPIO pin : SW_2_Pin */
  GPIO_InitStruct.Pin = SW_2_Pin;
  GPIO_InitStruct.Mode = GPIO_MODE_IT_RISING;
  GPIO_InitStruct.Pull = GPIO_NOPULL;
  HAL_GPIO_Init(SW_2_GPIO_Port, &GPIO_InitStruct);

  /*Configure GPIO pins : USR_2_Pin USR_3_Pin USR_4_Pin SPI2_SD_CS_Pin
                           SPI2_DC_Pin SPI2_RST_Pin SPI2_CS_Pin */
  GPIO_InitStruct.Pin = USR_2_Pin|USR_3_Pin|USR_4_Pin|SPI2_SD_CS_Pin
                          |SPI2_DC_Pin|SPI2_RST_Pin|SPI2_CS_Pin;
  GPIO_InitStruct.Mode = GPIO_MODE_OUTPUT_PP;
  GPIO_InitStruct.Pull = GPIO_NOPULL;
  GPIO_InitStruct.Speed = GPIO_SPEED_FREQ_LOW;
  HAL_GPIO_Init(GPIOB, &GPIO_InitStruct);

  /*Configure GPIO pin : USR_1_Pin */
  GPIO_InitStruct.Pin = USR_1_Pin;
  GPIO_InitStruct.Mode = GPIO_MODE_OUTPUT_PP;
  GPIO_InitStruct.Pull = GPIO_NOPULL;
  GPIO_InitStruct.Speed = GPIO_SPEED_FREQ_LOW;
  HAL_GPIO_Init(USR_1_GPIO_Port, &GPIO_InitStruct);

  /*Configure GPIO pins : SW_1_Pin SW_3_Pin */
  GPIO_InitStruct.Pin = SW_1_Pin|SW_3_Pin;
  GPIO_InitStruct.Mode = GPIO_MODE_IT_RISING;
  GPIO_InitStruct.Pull = GPIO_NOPULL;
  HAL_GPIO_Init(GPIOB, &GPIO_InitStruct);

  /* EXTI interrupt init*/
  HAL_NVIC_SetPriority(EXTI9_5_IRQn, 0, 0);
  HAL_NVIC_EnableIRQ(EXTI9_5_IRQn);

}

void Error_Handler(void)
{
  /* USER CODE BEGIN Error_Handler_Debug */
  /* User can add his own implementation to report the HAL error return state */

	// Stop the heater PWM and reconfigure as a GPIO and set to RESET
	heater_off();
	HAL_TIMEx_PWMN_Stop_IT(&htim1, TIM_CHANNEL_3);

	GPIO_InitTypeDef GPIO_InitStruct = {0};

	/*Configure GPIO pin : CURRENT_Pin */
	GPIO_InitStruct.Pin = HEATER_Pin;
	GPIO_InitStruct.Mode = GPIO_MODE_OUTPUT_PP;
	GPIO_InitStruct.Pull = GPIO_NOPULL;
	GPIO_InitStruct.Speed = GPIO_SPEED_FREQ_LOW;
	HAL_GPIO_Init(GPIOF, &GPIO_InitStruct);
	HAL_GPIO_WritePin(GPIOF, HEATER_Pin, GPIO_PIN_RESET);

	__disable_irq();
  while (1)
  {
  }
  /* USER CODE END Error_Handler_Debug */
}
